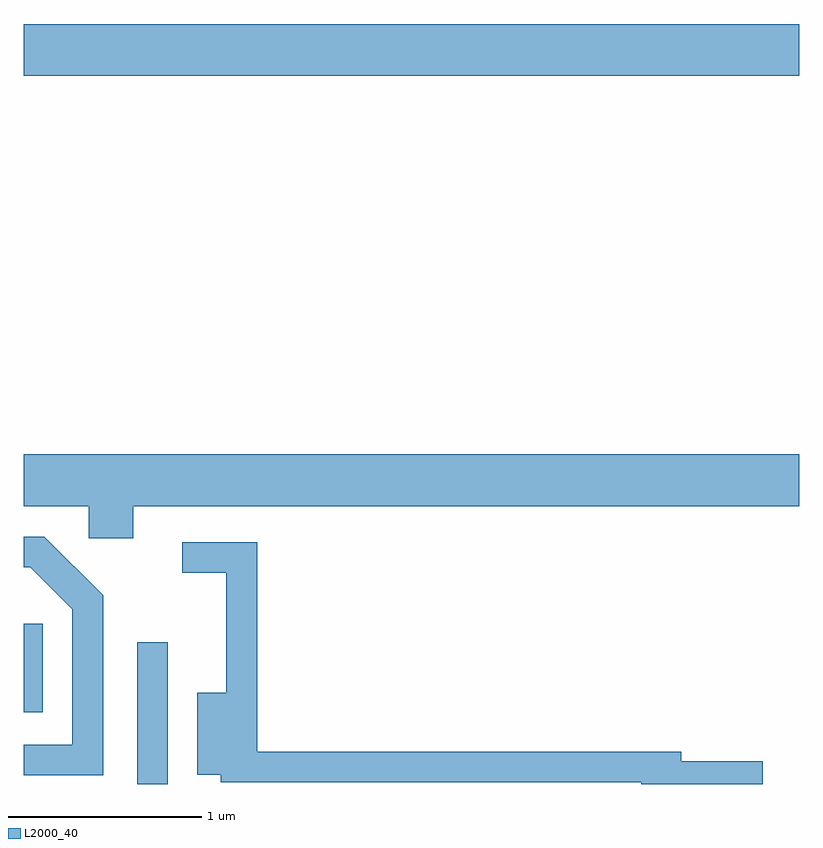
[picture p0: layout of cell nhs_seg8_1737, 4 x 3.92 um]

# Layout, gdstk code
import gdstk
lib = gdstk.Library(unit=1e-6, precision=1e-09)
def R(c, l, rs):  # rectangles x0, y0, x1, y1
    for r in rs: c.add(gdstk.rectangle(r[:2], r[2:], *l))
def P(c, l, *ps):  # polygons
    for p in ps: c.add(gdstk.Polygon(p, *l))
L2000_40 = (2000, 40)

nhs_seg8_1737 = lib.new_cell('nhs_seg8_1737')
R(nhs_seg8_1737, L2000_40, [(238.196,1808.342,238.354,1809.073), (237.611,1808.711,237.709,1809.169), (237.611,1811.996,241.611,1812.264)])
P(nhs_seg8_1737, L2000_40, [(238.174,1809.776),(241.611,1809.776),(241.611,1810.044),(237.611,1810.044),(237.611,1809.776),(237.946,1809.776),(237.946,1809.611),(238.174,1809.611)],
  [(238.019,1809.317),(237.717,1809.619),(237.611,1809.619),(237.611,1809.461),(237.644,1809.461),(237.861,1809.244),(237.861,1808.544),(237.611,1808.544),(237.611,1808.386),(238.019,1808.386)],
  [(241.424,1808.459),(241.004,1808.459),(241.004,1808.509),(238.814,1808.509),(238.814,1809.589),(238.428,1809.589),(238.428,1809.431),(238.656,1809.431),(238.656,1808.814),(238.506,1808.814),(238.506,1808.391),(238.626,1808.391),(238.626,1808.351),(240.796,1808.351),(240.796,1808.342),(241.424,1808.342)])

lib.write_gds('nhs_seg8_1737.gds')
